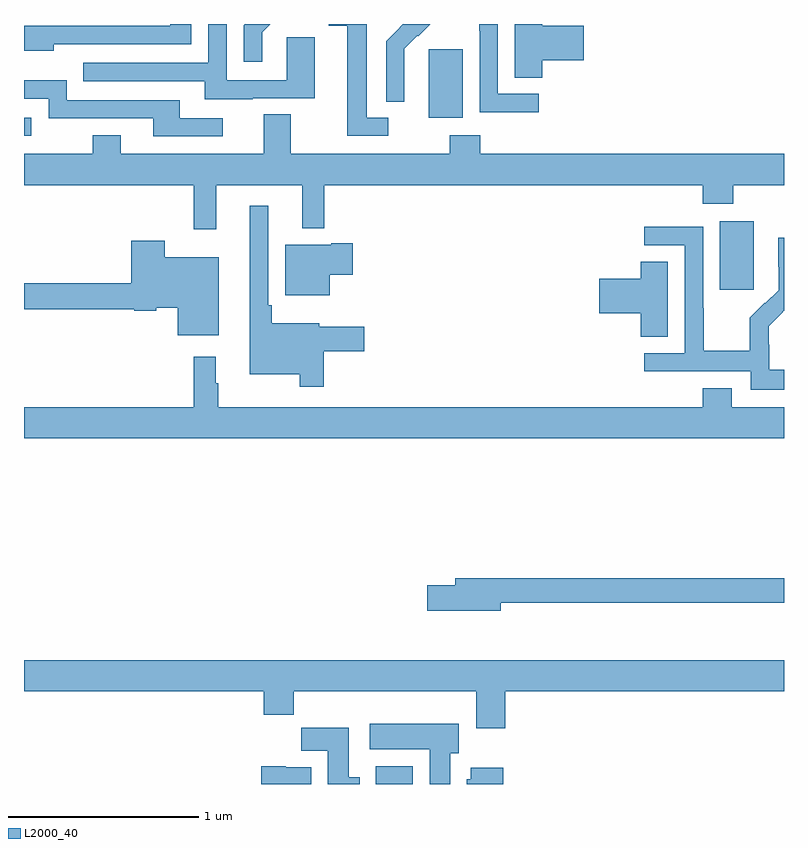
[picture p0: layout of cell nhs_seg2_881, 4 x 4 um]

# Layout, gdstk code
import gdstk
lib = gdstk.Library(unit=1e-6, precision=1e-09)
def R(c, l, rs):  # rectangles x0, y0, x1, y1
    for r in rs: c.add(gdstk.rectangle(r[:2], r[2:], *l))
def P(c, l, *ps):  # polygons
    for p in ps: c.add(gdstk.Polygon(p, *l))
L2000_40 = (2000, 40)

nhs_seg2_881 = lib.new_cell('nhs_seg2_881')
R(nhs_seg2_881, L2000_40, [(156.851,661.8,157.047,661.894), (158.663,664.401,158.842,664.762), (155,665.211,155.038,665.307), (157.13,665.306,157.309,665.667)])
P(nhs_seg2_881, L2000_40, [(157.727,665.609),(157.945,665.609),(157.945,665.792),(157.727,665.792),(157.727,665.8),(157.583,665.8),(157.583,665.518),(157.727,665.518)],
  [(156.205,665.409),(156.529,665.409),(156.529,665.729),(156.384,665.729),(156.384,665.505),(156.066,665.505),(156.066,665.8),(155.97,665.8),(155.97,665.595),(155.311,665.595),(155.311,665.499),(155.951,665.499),(155.951,665.405),(156.205,665.405)],
  [(157.708,665.433),(157.494,665.433),(157.494,665.8),(157.396,665.8),(157.396,665.764),(157.398,665.764),(157.398,665.335),(157.708,665.335)],
  [(157.002,665.546),(157.001,665.546),(157.001,665.669),(157.071,665.739),(157.074,665.736),(157.138,665.8),(156.994,665.8),(156.978,665.784),(156.979,665.783),(156.906,665.71),(156.906,665.392),(157.002,665.392)],
  [(155.156,665.694),(155.88,665.694),(155.88,665.8),(155.771,665.8),(155.771,665.79),(155,665.79),(155,665.66),(155.156,665.66)],
  [(156.916,665.307),(156.805,665.307),(156.805,665.8),(156.605,665.8),(156.605,665.792),(156.701,665.792),(156.701,665.211),(156.916,665.211)],
  [(156.253,665.757),(156.296,665.8),(156.162,665.8),(156.156,665.794),(156.156,665.601),(156.253,665.601)],
  [(156.046,665.304),(155.821,665.304),(155.821,665.4),(155.226,665.4),(155.226,665.503),(155,665.503),(155,665.406),(155.13,665.406),(155.13,665.304),(155.681,665.304),(155.681,665.208),(156.046,665.208)],
  [(156.011,664.952),(156.464,664.952),(156.464,664.724),(156.581,664.724),(156.581,664.952),(158.573,664.952),(158.573,664.853),(158.733,664.853),(158.733,664.952),(159,664.952),(159,665.116),(157.4,665.116),(157.4,665.215),(157.24,665.215),(157.24,665.116),(156.403,665.116),(156.403,665.324),(156.263,665.324),(156.263,665.116),(155.509,665.116),(155.509,665.215),(155.362,665.215),(155.362,665.116),(155,665.116),(155,664.952),(155.893,664.952),(155.893,664.719),(156.011,664.719)],
  [(156.578,664.078),(156.79,664.078),(156.79,664.207),(156.555,664.207),(156.555,664.225),(156.305,664.225),(156.305,664.321),(156.285,664.321),(156.285,664.843),(156.188,664.843),(156.188,663.956),(156.45,663.956),(156.45,663.891),(156.578,663.891)],
  [(159,663.979),(158.922,663.979),(158.922,664.113),(158.92,664.113),(158.92,664.21),(158.994,664.284),(158.993,664.285),(159,664.292),(159,664.676),(158.97,664.676),(158.97,664.522),(158.972,664.522),(158.972,664.4),(158.901,664.329),(158.898,664.332),(158.821,664.255),(158.821,664.081),(158.577,664.081),(158.577,664.304),(158.574,664.304),(158.574,664.734),(158.265,664.734),(158.265,664.635),(158.478,664.635),(158.478,664.068),(158.265,664.068),(158.265,663.972),(158.826,663.972),(158.826,663.875),(159,663.875)],
  [(156.025,664.573),(155.742,664.573),(155.742,664.66),(155.564,664.66),(155.564,664.436),(155,664.436),(155,664.3),(155.58,664.3),(155.58,664.292),(155.697,664.292),(155.697,664.307),(155.81,664.307),(155.81,664.163),(156.025,664.163)],
  [(156.61,664.481),(156.73,664.481),(156.73,664.647),(156.617,664.647),(156.617,664.639),(156.374,664.639),(156.374,664.373),(156.61,664.373)],
  [(158.389,664.55),(158.246,664.55),(158.246,664.46),(158.028,664.46),(158.028,664.277),(158.246,664.277),(158.246,664.153),(158.389,664.153)],
  [(159,663.784),(158.725,663.784),(158.725,663.883),(158.573,663.883),(158.573,663.784),(156.022,663.784),(156.022,663.908),(156.01,663.908),(156.01,664.048),(155.893,664.048),(155.893,663.784),(155,663.784),(155,663.62),(159,663.62)],
  [(157.51,662.754),(159,662.754),(159,662.882),(157.271,662.882),(157.271,662.846),(157.122,662.846),(157.122,662.711),(157.51,662.711)],
  [(157.532,662.288),(159,662.288),(159,662.452),(155,662.452),(155,662.288),(156.263,662.288),(156.263,662.164),(156.419,662.164),(156.419,662.288),(157.379,662.288),(157.379,662.094),(157.532,662.094)],
  [(157.243,661.962),(157.288,661.962),(157.288,662.116),(156.819,662.116),(156.819,661.982),(157.136,661.982),(157.136,661.8),(157.243,661.8)],
  [(156.766,661.836),(156.709,661.836),(156.709,662.095),(156.46,662.095),(156.46,661.976),(156.599,661.976),(156.599,661.8),(156.766,661.8)],
  [(156.511,661.888),(156.378,661.888),(156.378,661.894),(156.248,661.894),(156.248,661.8),(156.511,661.8)],
  [(157.523,661.885),(157.352,661.885),(157.352,661.824),(157.331,661.824),(157.331,661.8),(157.523,661.8)])

lib.write_gds('nhs_seg2_881.gds')
